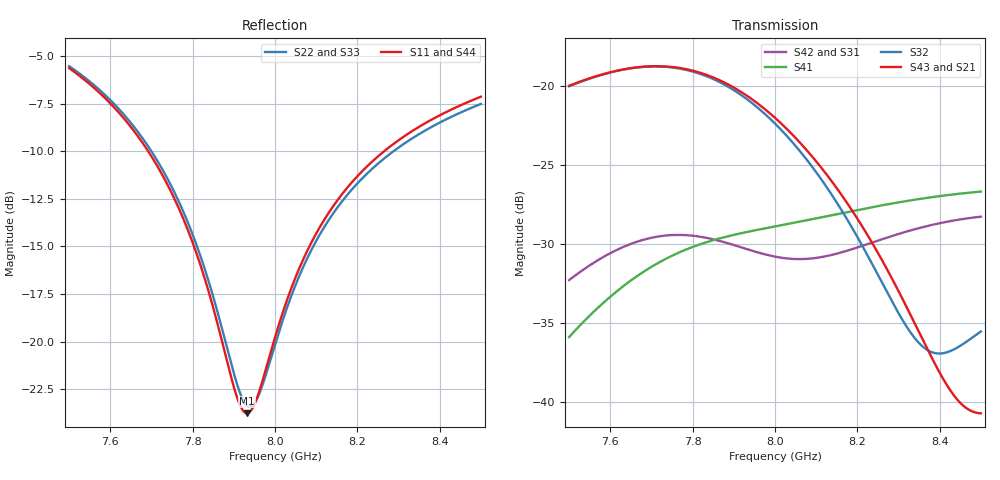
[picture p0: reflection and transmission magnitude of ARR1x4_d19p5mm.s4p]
! Touchstone file exported from HFSS 2025.1.0
!  File:  C:/Users/user/Documents/Ansoft/TFG_UWB-MIMO-Array.aedt
!  Generated:  05:34:59 PM Nov 20, 2026
!  Design:  ARR1x4_P01_MS2_dparam
!  Project:  TFG_UWB-MIMO-Array
!  Setup:  Setup_ch9
!  Solution:  Sweep_7p5_8p5
! Variables:
!  arr_d = 19.5mm
!  board_m = 13mm
!  board_x = 84.5mm
!  board_y = 26mm
!  cu_t = 0.035mm
!  line_w = 3.92mm
!  pad_xy = 22mm
!  pad_zn = 25mm
!  pad_zp = 33mm
!  patch_L = 7.322mm
!  patch_W = 11.421266mm
!  sub_h = 2.07mm
!  tr_l = 7.1mm
!  tr_w = 0.8mm
# GHz S MA R 50.000000
! Terminal data exported
! Port[1] = P1
! Port[2] = P2
! Port[3] = P3
! Port[4] = P4
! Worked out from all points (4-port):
!   1001 points, 7.5 GHz to 8.5 GHz, reference 50 ohm
!   strongest paths, dB at 7.5 GHz, 7.75 GHz, 8 GHz, 8.25 GHz, 8.5 GHz:
!     S43: -20.0, -18.8, -22.0, -30.6, -40.7
!     S21: -20.0, -18.9, -22.1, -30.7, -40.5
!     S32: -20.0, -18.8, -22.4, -32.0, -35.6
!     S41: -35.9, -30.8, -28.9, -27.6, -26.7
!     S42: -32.3, -29.5, -30.8, -29.8, -28.3
!     S31: -32.5, -29.7, -31.1, -29.8, -28.2
!   lowest |S11| = -23.8 dB at 7.932 GHz (marker M1), VSWR 1.14, Z = 56.6 + j2.1 ohm
!   |S11| at or under -10 dB: 7.692 GHz to 8.265 GHz (573.2 MHz wide, 7.18 % of centre)
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7.5  0.5225 156.6  0.09993 -52.8  0.02381 134.3  0.016 -64.2
     0.09993 -52.8  0.5286 157.0  0.09956 -51.5  0.02423 134.4
     0.02381 134.3  0.09956 -51.5  0.5312 157.2  0.09994 -52.3
     0.016 -64.2  0.02423 134.4  0.09994 -52.3  0.5237 156.8
7.745  0.2507 117.3  0.1142 -107.5  0.03286 53.6  0.02874 -149.1
       0.1142 -107.5  0.2601 117.3  0.1144 -106.2  0.03363 53.8
       0.03286 53.6  0.1144 -106.2  0.2632 117.7  0.1148 -107.0
       0.02874 -149.1  0.03363 53.8  0.1148 -107.0  0.2521 117.4
7.932  0.06488 16.6  0.09208 -153.6  0.02943 -29.6  0.03442 130.0
       0.09208 -153.6  0.06795 22.4  0.0906 -152.3  0.03037 -28.6
       0.02943 -29.6  0.0906 -152.3  0.06729 24.7  0.09288 -153.2
       0.03442 130.0  0.03037 -28.6  0.09288 -153.2  0.06658 17.1
8.058  0.1549 -64.2  0.06584 178.5  0.02751 -94.2  0.03707 75.3
       0.06584 178.5  0.148 -62.8  0.06263 -179.1  0.02824 -92.0
       0.02751 -94.2  0.06263 -179.1  0.1461 -62.9  0.06658 178.8
       0.03707 75.3  0.02824 -92.0  0.06658 178.8  0.156 -63.4
8.152  0.2354 -83.1  0.04633 161.4  0.02902 -139.5  0.03923 37.7
       0.04633 161.4  0.2253 -82.6  0.04226 166.3  0.02943 -136.9
       0.02902 -139.5  0.04226 166.3  0.2241 -82.9  0.04697 161.6
       0.03923 37.7  0.02943 -136.9  0.04697 161.6  0.2366 -82.5
8.357  0.3703 -107.5  0.01558 149.0  0.03574 145.7  0.0439 -31.5
       0.01558 149.0  0.3543 -107.0  0.015 178.5  0.0356 148.3
       0.03574 145.7  0.015 178.5  0.3541 -107.4  0.01586 147.9
       0.0439 -31.5  0.0356 148.3  0.01586 147.9  0.3718 -107.1
8.5  0.4395 -120.2  0.009403 -176.2  0.03875 108.4  0.0462 -70.4
     0.009403 -176.2  0.4208 -119.3  0.01666 -152.9  0.03848 110.9
     0.03875 108.4  0.01666 -152.9  0.4208 -119.8  0.009177 -178.0
     0.0462 -70.4  0.03848 110.9  0.009177 -178.0  0.4411 -119.9
